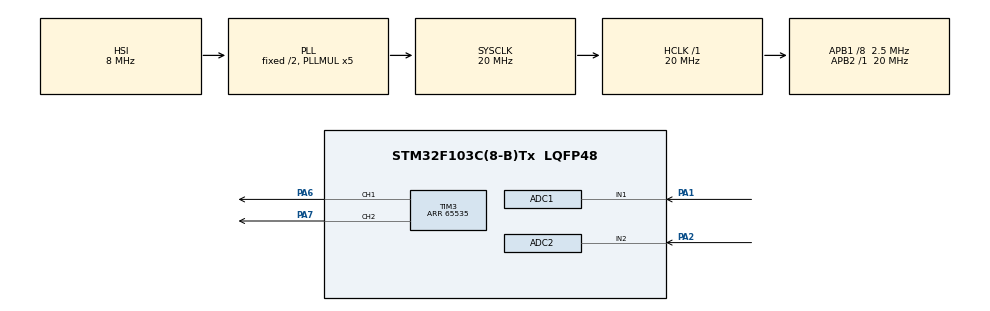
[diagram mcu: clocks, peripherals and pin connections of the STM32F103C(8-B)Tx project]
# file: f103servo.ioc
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ADC1.Channel-8\#ChannelRegularConversion=ADC_CHANNEL_1
ADC1.ContinuousConvMode=DISABLE
ADC1.DataAlign=ADC_DATAALIGN_RIGHT
ADC1.DiscontinuousConvMode=DISABLE
ADC1.EnableAnalogWatchDog=false
ADC1.EnableRegularConversion=ENABLE
ADC1.ExternalTrigConvEdgeChoice=NONE
ADC1.InjNumberOfConversion=0
ADC1.NbrOfConversion=1
ADC1.NbrOfConversionFlag=1
ADC1.Rank-8\#ChannelRegularConversion=1
ADC1.SamplingTime-8\#ChannelRegularConversion=ADC_SAMPLETIME_1CYCLE_5
ADC1.ScanConvMode=ADC_SCAN_DISABLE
ADC1.master=1
ADC2.Channel-0\#ChannelRegularConversion=ADC_CHANNEL_2
ADC2.ContinuousConvMode=DISABLE
ADC2.DataAlign=ADC_DATAALIGN_RIGHT
ADC2.DiscontinuousConvMode=DISABLE
ADC2.EnableAnalogWatchDog=false
ADC2.EnableRegularConversion=ENABLE
ADC2.ExternalTrigConvEdgeChoice=NONE
ADC2.InjNumberOfConversion=0
ADC2.NbrOfConversion=1
ADC2.NbrOfConversionFlag=1
ADC2.Rank-0\#ChannelRegularConversion=1
ADC2.SamplingTime-0\#ChannelRegularConversion=ADC_SAMPLETIME_1CYCLE_5
ADC2.ScanConvMode=ADC_SCAN_DISABLE
Mcu.Family=STM32F1
Mcu.Name=STM32F103C(8-B)Tx
Mcu.Package=LQFP48
NVIC.ADC1_2_IRQn=true\:0\:0\:false\:false\:true
NVIC.PriorityGroup=NVIC_PRIORITYGROUP_4
NVIC.TIM3_IRQn=true\:0\:0\:false\:false\:true
PA1.Signal=ADCx_IN1
PA13.Mode=Serial_Wire
PA13.Signal=SYS_JTMS-SWDIO
PA14.Mode=Serial_Wire
PA14.Signal=SYS_JTCK-SWCLK
PA2.Signal=ADCx_IN2
PA6.GPIO_Speed=GPIO_SPEED_FREQ_HIGH
PA6.Signal=S_TIM3_CH1
PA7.GPIO_Speed=GPIO_SPEED_FREQ_HIGH
PA7.Signal=S_TIM3_CH2
ProjectManager.HeapSize=0x200
ProjectManager.StackSize=0x400
ProjectManager.TargetToolchain=SW4STM32
RCC.AHBFreq_Value=20000000
RCC.APB1CLKDivider=RCC_HCLK_DIV8
RCC.APB1Freq_Value=2500000
RCC.APB1TimFreq_Value=5000000
RCC.APB2Freq_Value=20000000
RCC.APB2TimFreq_Value=20000000
RCC.HCLKFreq_Value=20000000
RCC.PLLMUL=RCC_PLL_MUL5
RCC.SYSCLKFreq_VALUE=20000000
RCC.SYSCLKSource=RCC_SYSCLKSOURCE_PLLCLK
RCC.USBFreq_Value=20000000
SH.ADCx_IN1.0=ADC1_IN1,IN1
SH.ADCx_IN2.0=ADC2_IN2,IN2
SH.S_TIM3_CH1.0=TIM3_CH1,PWM Generation1 CH1
SH.S_TIM3_CH2.0=TIM3_CH2,PWM Generation2 CH2
TIM3.Channel-PWM\ Generation2\ CH2=TIM_CHANNEL_2
TIM3.Period=65535
board=f103servo

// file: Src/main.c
/**
  ******************************************************************************
  * File Name          : main.c
  * Description        : Main program body
  ******************************************************************************
  *
  * COPYRIGHT(c) 2016 STMicroelectronics
  *
  * Redistribution and use in source and binary forms, with or without modification,
  * are permitted provided that the following conditions are met:
  *   1. Redistributions of source code must retain the above copyright notice,
  *      this list of conditions and the following disclaimer.
  *   2. Redistributions in binary form must reproduce the above copyright notice,
  *      this list of conditions and the following disclaimer in the documentation
  *      and/or other materials provided with the distribution.
  *   3. Neither the name of STMicroelectronics nor the names of its contributors
  *      may be used to endorse or promote products derived from this software
  *      without specific prior written permission.
  *
  * THIS SOFTWARE IS PROVIDED BY THE COPYRIGHT HOLDERS AND CONTRIBUTORS "AS IS"
  * AND ANY EXPRESS OR IMPLIED WARRANTIES, INCLUDING, BUT NOT LIMITED TO, THE
  * IMPLIED WARRANTIES OF MERCHANTABILITY AND FITNESS FOR A PARTICULAR PURPOSE ARE
  * DISCLAIMED. IN NO EVENT SHALL THE COPYRIGHT HOLDER OR CONTRIBUTORS BE LIABLE
  * FOR ANY DIRECT, INDIRECT, INCIDENTAL, SPECIAL, EXEMPLARY, OR CONSEQUENTIAL
  * DAMAGES (INCLUDING, BUT NOT LIMITED TO, PROCUREMENT OF SUBSTITUTE GOODS OR
  * SERVICES; LOSS OF USE, DATA, OR PROFITS; OR BUSINESS INTERRUPTION) HOWEVER
  * CAUSED AND ON ANY THEORY OF LIABILITY, WHETHER IN CONTRACT, STRICT LIABILITY,
  * OR TORT (INCLUDING NEGLIGENCE OR OTHERWISE) ARISING IN ANY WAY OUT OF THE USE
  * OF THIS SOFTWARE, EVEN IF ADVISED OF THE POSSIBILITY OF SUCH DAMAGE.
  *
  ******************************************************************************
  */
#include "stm32f1xx_hal.h"
#include "adc.h"
#include "tim.h"
#include "gpio.h"

/* USER CODE BEGIN Includes */

#define SERVO_180  800
#define SERVO_0  200

/* USER CODE END Includes */

/* USER CODE BEGIN PV */
/* Private variables ---------------------------------------------------------*/

/* USER CODE END PV */

void SystemClock_Config(void);

/* USER CODE BEGIN PFP */
/* Private function prototypes -----------------------------------------------*/

/* USER CODE END PFP */

int main(void)
{

  /* MCU Configuration----------------------------------------------------------*/

  /* Reset of all peripherals, Initializes the Flash interface and the Systick. */
  HAL_Init();

  /* Configure the system clock */
  SystemClock_Config();

  /* Initialize all configured peripherals */
  MX_GPIO_Init();
  MX_ADC1_Init();
  MX_TIM3_Init();
  MX_ADC2_Init();

  /* USER CODE BEGIN 2 */
  HAL_TIM_PWM_Start(&htim3, TIM_CHANNEL_1);
  HAL_TIM_PWM_Start(&htim3, TIM_CHANNEL_2);

    int servo = 0;

    void set_pos(int pos, int nserv) {

    float tmp = (float)(SERVO_180 - SERVO_0) / 4093 ;

    switch(nserv)
    {
		case 1 :
    TIM3 -> CCR1 = ((int) SERVO_0 + tmp * pos)*16;
    	break;
		case 2 :
    TIM3 -> CCR2 = ((int) SERVO_0 + tmp * pos)*16;
    	break;
    }

    }
  /* USER CODE END 2 */

  /* Infinite loop */
  /* USER CODE BEGIN WHILE */
  while (1)
  {

	  HAL_ADC_Start(&hadc2);
	  HAL_ADC_PollForConversion(&hadc2,50);
	  servo = HAL_ADC_GetValue(&hadc2);
	  HAL_ADC_Stop(&hadc2);

	  set_pos(servo,1);

  	  HAL_ADC_Start(&hadc1);
  	  HAL_ADC_PollForConversion(&hadc1,50);
	  	  servo = HAL_ADC_GetValue(&hadc1);
  	  HAL_ADC_Stop(&hadc1);

  	  set_pos(servo,2);

  /* USER CODE END WHILE */

  }

}

/** System Clock Configuration
*/
void SystemClock_Config(void)
{

  RCC_OscInitTypeDef RCC_OscInitStruct;
  RCC_ClkInitTypeDef RCC_ClkInitStruct;
  RCC_PeriphCLKInitTypeDef PeriphClkInit;

  RCC_OscInitStruct.OscillatorType = RCC_OSCILLATORTYPE_HSI;
  RCC_OscInitStruct.HSIState = RCC_HSI_ON;
  RCC_OscInitStruct.HSICalibrationValue = 16;
  RCC_OscInitStruct.PLL.PLLState = RCC_PLL_ON;
  RCC_OscInitStruct.PLL.PLLSource = RCC_PLLSOURCE_HSI_DIV2;
  RCC_OscInitStruct.PLL.PLLMUL = RCC_PLL_MUL5;
  HAL_RCC_OscConfig(&RCC_OscInitStruct);

  RCC_ClkInitStruct.ClockType = RCC_CLOCKTYPE_HCLK|RCC_CLOCKTYPE_SYSCLK
                              |RCC_CLOCKTYPE_PCLK1|RCC_CLOCKTYPE_PCLK2;
  RCC_ClkInitStruct.SYSCLKSource = RCC_SYSCLKSOURCE_PLLCLK;
  RCC_ClkInitStruct.AHBCLKDivider = RCC_SYSCLK_DIV1;
  RCC_ClkInitStruct.APB1CLKDivider = RCC_HCLK_DIV8;
  RCC_ClkInitStruct.APB2CLKDivider = RCC_HCLK_DIV1;
  HAL_RCC_ClockConfig(&RCC_ClkInitStruct, FLASH_LATENCY_0);

  PeriphClkInit.PeriphClockSelection = RCC_PERIPHCLK_ADC;
  PeriphClkInit.AdcClockSelection = RCC_ADCPCLK2_DIV2;
  HAL_RCCEx_PeriphCLKConfig(&PeriphClkInit);

  HAL_SYSTICK_Config(HAL_RCC_GetHCLKFreq()/1000);

  HAL_SYSTICK_CLKSourceConfig(SYSTICK_CLKSOURCE_HCLK);

  /* SysTick_IRQn interrupt configuration */
  HAL_NVIC_SetPriority(SysTick_IRQn, 0, 0);
}

/************************ (C) COPYRIGHT STMicroelectronics *****END OF FILE****/
